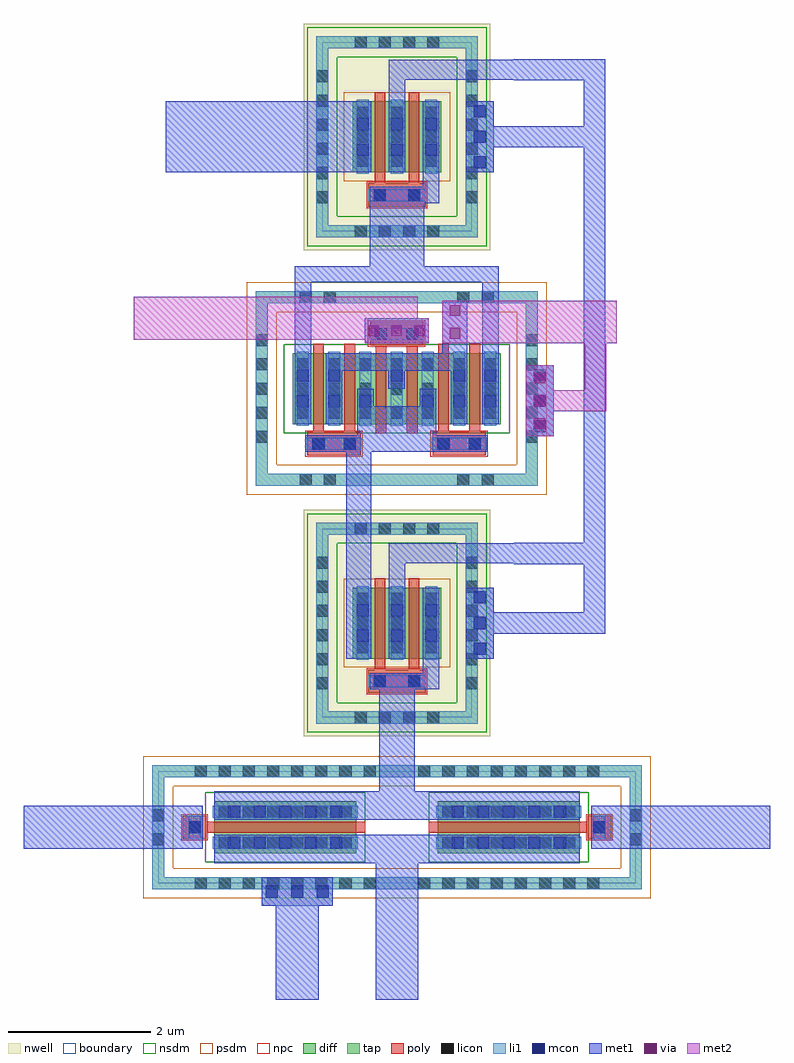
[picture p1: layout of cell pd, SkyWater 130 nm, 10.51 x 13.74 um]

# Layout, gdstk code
from math import pi, radians
import gdstk
lib = gdstk.Library(unit=1e-6, precision=1e-09)
def R(c, l, rs):  # rectangles x0, y0, x1, y1
    for r in rs: c.add(gdstk.rectangle(r[:2], r[2:], *l))
def A(c, l, x, y, w, h, nx, ny, dx, dy):  # array of equal rectangles
    R(c, l, [(x+i*dx, y+j*dy, x+i*dx+w, y+j*dy+h) for i in range(nx) for j in range(ny)])
def P(c, l, *ps):  # polygons
    for p in ps: c.add(gdstk.Polygon(p, *l))
nwell = (64, 20)
diff = (65, 20)
tap = (65, 44)
poly = (66, 20)
licon = (66, 44)
li1 = (67, 20)
mcon = (67, 44)
met1 = (68, 20)
via = (68, 44)
met2 = (69, 20)
nsdm = (93, 44)
psdm = (94, 20)
npc = (95, 20)
boundary = (235, 4)

via_new_3 = lib.new_cell('via_new$3')
A(via_new_3, mcon, 0.115, -0.445, 0.17, 0.17, 1, 3, 0, 0.36)
via_new_3.add(gdstk.FlexPath([(0,0),(0.4,0)], 1, ends="flush", simple_path=True, layer=67, datatype=20))  # li1
via_new_3.add(gdstk.FlexPath([(0,0),(0.4,0)], 1, ends="flush", simple_path=True, layer=68, datatype=20))  # met1

sky130_fd_pr__pfet_01v8 = lib.new_cell('sky130_fd_pr__pfet_01v8')
R(sky130_fd_pr__pfet_01v8, nwell, [(0,0,2.63,3.19), (0,6.845,2.63,10.035)])
R(sky130_fd_pr__pfet_01v8, diff, [(0.69,1.095,1.94,2.095), (0.69,7.94,1.94,8.94)])
R(sky130_fd_pr__pfet_01v8, tap, [(0.18,0.18,2.45,0.35), (0.18,0.35,0.35,2.84), (2.28,0.35,2.45,2.84), (0.18,2.84,2.45,3.01), (0.18,7.025,2.45,7.195), (0.18,7.195,0.35,9.685), (2.28,7.195,2.45,9.685), (0.18,9.685,2.45,9.855)])
R(sky130_fd_pr__pfet_01v8, poly, [(0.91,0.61,1.72,0.94), (1,0.94,1.15,2.225), (1.48,0.94,1.63,2.225), (0.91,7.455,1.72,7.785), (1,7.785,1.15,9.07), (1.48,7.785,1.63,9.07)])
A(sky130_fd_pr__pfet_01v8, licon, 0.72, 0.18, 0.17, 0.17, 4, 2, 0.34, 2.66)
A(sky130_fd_pr__pfet_01v8, licon, 0.18, 0.66, 0.17, 0.17, 1, 6, 0, 0.34)
A(sky130_fd_pr__pfet_01v8, licon, 2.28, 0.66, 0.17, 0.17, 1, 6, 0, 0.34)
A(sky130_fd_pr__pfet_01v8, licon, 0.75, 1.17, 0.17, 0.17, 3, 3, 0.48, 0.34)
A(sky130_fd_pr__pfet_01v8, licon, 0.72, 7.025, 0.17, 0.17, 4, 2, 0.34, 2.66)
A(sky130_fd_pr__pfet_01v8, licon, 0.18, 7.505, 0.17, 0.17, 1, 6, 0, 0.34)
A(sky130_fd_pr__pfet_01v8, licon, 2.28, 7.505, 0.17, 0.17, 1, 6, 0, 0.34)
A(sky130_fd_pr__pfet_01v8, licon, 0.75, 8.015, 0.17, 0.17, 3, 3, 0.48, 0.34)
R(sky130_fd_pr__pfet_01v8, licon, [(0.99,0.69,1.16,0.86), (1.47,0.69,1.64,0.86), (0.99,7.535,1.16,7.705), (1.47,7.535,1.64,7.705)])
A(sky130_fd_pr__pfet_01v8, li1, 0.75, 1.075, 0.17, 1.04, 3, 2, 0.48, 6.845)
R(sky130_fd_pr__pfet_01v8, li1, [(0.18,0.18,2.45,0.35), (0.18,0.35,0.35,2.84), (2.28,0.35,2.45,2.84), (0.91,0.69,1.72,0.86), (0.18,2.84,2.45,3.01), (0.18,7.025,2.45,7.195), (0.18,7.195,0.35,9.685), (2.28,7.195,2.45,9.685), (0.91,7.535,1.72,7.705), (0.18,9.685,2.45,9.855)])
A(sky130_fd_pr__pfet_01v8, mcon, 0.75, 1.33, 0.17, 0.17, 3, 2, 0.48, 0.36)
A(sky130_fd_pr__pfet_01v8, mcon, 0.75, 8.175, 0.17, 0.17, 3, 2, 0.48, 0.36)
R(sky130_fd_pr__pfet_01v8, mcon, [(0.99,0.69,1.16,0.86), (1.47,0.69,1.64,0.86), (0.99,7.535,1.16,7.705), (1.47,7.535,1.64,7.705)])
R(sky130_fd_pr__pfet_01v8, met1, [(0.72,1.095,0.95,2.095), (1.2,1.095,1.43,2.095), (1.2,2.095,1.43,2.555), (0.72,7.94,0.95,8.94), (1.2,7.94,1.43,8.94), (1.2,8.94,1.43,9.4)])
P(sky130_fd_pr__pfet_01v8, met1, [(0.93,7.505),(0.93,7.735),(1.68,7.735),(1.68,8.94),(1.91,8.94),(1.91,7.505)],
  [(0.93,0.66),(0.93,0.89),(1.68,0.89),(1.68,2.095),(1.91,2.095),(1.91,0.66)])
R(sky130_fd_pr__pfet_01v8, nsdm, [(0.055,0.055,2.575,0.475), (0.055,0.475,0.475,2.715), (2.155,0.475,2.575,2.715), (0.055,2.715,2.575,3.135), (0.055,6.9,2.575,7.32), (0.055,7.32,0.475,9.56), (2.155,7.32,2.575,9.56), (0.055,9.56,2.575,9.98)])
R(sky130_fd_pr__pfet_01v8, psdm, [(0.565,0.97,2.065,2.22), (0.565,7.815,2.065,9.065)])
R(sky130_fd_pr__pfet_01v8, npc, [(0.89,0.59,1.74,0.96), (0.89,7.435,1.74,7.805)])
R(sky130_fd_pr__pfet_01v8, boundary, [(0.265,0.265,2.365,2.925), (0.265,7.11,2.365,9.77)])

via_new_1_1 = lib.new_cell('via_new$1$1')
A(via_new_1_1, via, 0.1, -0.395, 0.15, 0.15, 1, 3, 0, 0.32)
via_new_1_1.add(gdstk.FlexPath([(0,0),(0.35,0)], 0.9, ends="flush", simple_path=True, layer=69, datatype=20))  # met2
via_new_1_1.add(gdstk.FlexPath([(0,0),(0.35,0)], 0.9, ends="flush", simple_path=True, layer=68, datatype=20))  # met1

via_new_2_1 = lib.new_cell('via_new$2$1')
R(via_new_2_1, via, [(0.1,-0.235,0.25,-0.085), (0.1,0.085,0.25,0.235)])
via_new_2_1.add(gdstk.FlexPath([(0,0),(0.35,0)], 0.6, ends="flush", simple_path=True, layer=69, datatype=20))  # met2
via_new_2_1.add(gdstk.FlexPath([(0,0),(0.35,0)], 0.6, ends="flush", simple_path=True, layer=68, datatype=20))  # met1

sky130_fd_pr__nfet_01v8_ = lib.new_cell('sky130_fd_pr__nfet_01v8$4')
A(sky130_fd_pr__nfet_01v8_, diff, 2.1, 6.675, 0.73, 1, 6, 1, 0.44, 0)
R(sky130_fd_pr__nfet_01v8_, diff, [(0.995,0.635,2.995,1.365), (4.145,0.635,6.145,1.365)])
R(sky130_fd_pr__nfet_01v8_, tap, [(0.125,0.125,0.295,1.875), (0.295,0.125,3.695,0.295), (3.445,0.125,6.845,0.295), (6.845,0.125,7.015,1.875), (0.295,1.705,3.695,1.875), (3.445,1.705,6.845,1.875), (1.58,5.805,3.33,5.975), (3.33,5.805,3.8,5.975), (3.8,5.805,5.55,5.975), (1.58,5.975,1.75,8.375), (5.38,5.975,5.55,8.375), (1.58,8.375,3.33,8.545), (3.33,8.375,3.8,8.545), (3.8,8.375,5.55,8.545)])
A(sky130_fd_pr__nfet_01v8_, poly, 2.39, 6.565, 0.15, 1.22, 6, 1, 0.44, 0)
R(sky130_fd_pr__nfet_01v8_, poly, [(0.555,0.835,0.885,1.165), (6.255,0.835,6.585,1.165), (0.885,0.925,3.105,1.075), (4.035,0.925,6.255,1.075), (2.63,6.235,2.74,6.565), (4.39,6.235,4.5,6.565), (3.51,7.785,3.62,8.115)])
A(sky130_fd_pr__nfet_01v8_, licon, 0.72, 0.125, 0.17, 0.17, 8, 2, 0.34, 1.58)
A(sky130_fd_pr__nfet_01v8_, licon, 3.87, 0.125, 0.17, 0.17, 8, 2, 0.34, 1.58)
A(sky130_fd_pr__nfet_01v8_, licon, 1.06, 0.695, 0.17, 0.17, 6, 2, 0.34, 0.44)
A(sky130_fd_pr__nfet_01v8_, licon, 4.21, 0.695, 0.17, 0.17, 6, 2, 0.34, 0.44)
A(sky130_fd_pr__nfet_01v8_, licon, 1.58, 6.41, 0.17, 0.17, 1, 5, 0, 0.34)
A(sky130_fd_pr__nfet_01v8_, licon, 5.38, 6.41, 0.17, 0.17, 1, 5, 0, 0.34)
A(sky130_fd_pr__nfet_01v8_, licon, 2.16, 6.75, 0.17, 0.17, 7, 3, 0.44, 0.34)
R(sky130_fd_pr__nfet_01v8_, licon, [(0.125,0.745,0.295,0.915), (6.845,0.745,7.015,0.915), (0.635,0.915,0.805,1.085), (6.335,0.915,6.505,1.085), (0.125,1.085,0.295,1.255), (6.845,1.085,7.015,1.255), (2.2,5.805,2.37,5.975), (2.54,5.805,2.71,5.975), (4.42,5.805,4.59,5.975), (4.76,5.805,4.93,5.975), (2.38,6.315,2.55,6.485), (2.82,6.315,2.99,6.485), (4.14,6.315,4.31,6.485), (4.58,6.315,4.75,6.485), (3.26,7.865,3.43,8.035), (3.7,7.865,3.87,8.035), (2.2,8.375,2.37,8.545), (2.54,8.375,2.71,8.545), (4.42,8.375,4.59,8.545), (4.76,8.375,4.93,8.545)])
A(sky130_fd_pr__nfet_01v8_, li1, 2.16, 6.655, 0.17, 1.04, 7, 1, 0.44, 0)
R(sky130_fd_pr__nfet_01v8_, li1, [(0.125,0.125,0.295,1.875), (0.295,0.125,3.695,0.295), (3.445,0.125,6.845,0.295), (6.845,0.125,7.015,1.875), (0.975,0.695,3.015,0.865), (4.125,0.695,6.165,0.865), (0.635,0.835,0.805,1.165), (6.335,0.835,6.505,1.165), (0.975,1.135,3.015,1.305), (4.125,1.135,6.165,1.305), (0.295,1.705,3.695,1.875), (3.445,1.705,6.845,1.875), (1.58,5.805,3.33,5.975), (3.33,5.805,3.8,5.975), (3.8,5.805,5.55,5.975), (1.58,5.975,1.75,8.375), (5.38,5.975,5.55,8.375), (2.3,6.315,2.63,6.485), (2.63,6.315,2.74,6.485), (2.74,6.315,3.07,6.485), (4.06,6.315,4.39,6.485), (4.39,6.315,4.5,6.485), (4.5,6.315,4.83,6.485), (3.18,7.865,3.51,8.035), (3.51,7.865,3.62,8.035), (3.62,7.865,3.95,8.035), (1.58,8.375,3.33,8.545), (3.33,8.375,3.8,8.545), (3.8,8.375,5.55,8.545)])
A(sky130_fd_pr__nfet_01v8_, mcon, 1.19, 0.695, 0.17, 0.17, 5, 2, 0.36, 0.44)
A(sky130_fd_pr__nfet_01v8_, mcon, 4.34, 0.695, 0.17, 0.17, 5, 2, 0.36, 0.44)
A(sky130_fd_pr__nfet_01v8_, mcon, 2.16, 6.91, 0.17, 0.17, 3, 1, 0.44, 0)
A(sky130_fd_pr__nfet_01v8_, mcon, 3.92, 6.91, 0.17, 0.17, 3, 1, 0.44, 0)
A(sky130_fd_pr__nfet_01v8_, mcon, 2.6, 7.27, 0.17, 0.17, 3, 1, 0.88, 0)
R(sky130_fd_pr__nfet_01v8_, mcon, [(0.635,0.915,0.805,1.085), (6.335,0.915,6.505,1.085), (2.38,6.315,2.55,6.485), (2.82,6.315,2.99,6.485), (4.14,6.315,4.31,6.485), (4.58,6.315,4.75,6.485), (2.16,7.27,2.33,7.44), (4.8,7.27,4.97,7.44), (3.26,7.865,3.43,8.035), (3.7,7.865,3.87,8.035)])
R(sky130_fd_pr__nfet_01v8_, met1, [(0.995,0.495,6.145,0.895), (0.995,0.665,2.995,0.895), (4.145,0.665,6.145,0.895), (0.605,0.815,0.835,0.855), (6.305,0.815,6.535,0.855), (0.605,0.855,0.835,1.145), (6.305,0.855,6.535,1.145), (0.995,1.105,2.995,1.335), (0.995,1.105,6.145,1.505), (4.145,1.105,6.145,1.335), (0.605,1.145,0.835,1.185), (6.305,1.145,6.535,1.185), (2.28,6.285,2.32,6.515), (2.32,6.285,2.61,6.515), (2.61,6.285,2.76,6.515), (2.76,6.285,3.05,6.515), (3.05,6.285,3.09,6.515), (3.09,6.285,4.04,6.515), (4.04,6.285,4.08,6.515), (4.08,6.285,4.37,6.515), (4.37,6.285,4.52,6.515), (4.52,6.285,4.81,6.515), (4.81,6.285,4.85,6.515), (3.01,6.515,4.12,6.675), (2.13,6.675,2.36,7.675), (2.57,6.675,2.8,7.675), (3.01,6.675,3.24,7.175), (3.24,6.675,3.89,6.925), (3.89,6.675,4.12,7.175), (4.33,6.675,4.56,7.675), (4.77,6.675,5,7.675), (3.45,7.175,3.68,7.675), (2.8,7.425,3.45,7.675), (3.68,7.425,4.33,7.675), (4.21,7.675,4.56,7.815), (3.16,7.835,3.2,8.065), (3.2,7.835,3.49,8.065), (3.49,7.835,3.64,8.065), (3.64,7.835,3.93,8.065), (3.93,7.835,3.97,8.065)])
A(sky130_fd_pr__nfet_01v8_, nsdm, 1.975, 6.55, 0.98, 1.25, 6, 1, 0.44, 0)
R(sky130_fd_pr__nfet_01v8_, nsdm, [(0.87,0.51,3.12,1.49), (4.02,0.51,6.27,1.49)])
R(sky130_fd_pr__nfet_01v8_, psdm, [(0,0,0.42,2), (0.42,0,3.57,0.42), (3.57,0,6.72,0.42), (6.72,0,7.14,2), (0.42,1.58,3.57,2), (3.57,1.58,6.72,2), (1.455,5.68,3.455,6.1), (3.455,5.68,3.675,6.1), (3.675,5.68,5.675,6.1), (1.455,6.1,1.875,8.25), (5.255,6.1,5.675,8.25), (1.455,8.25,3.455,8.67), (3.455,8.25,3.675,8.67), (3.675,8.25,5.675,8.67)])
R(sky130_fd_pr__nfet_01v8_, npc, [(0.535,0.815,0.905,1.185), (6.235,0.815,6.605,1.185), (2.28,6.215,2.65,6.585), (2.65,6.215,2.72,6.585), (2.72,6.215,3.09,6.585), (4.04,6.215,4.41,6.585), (4.41,6.215,4.48,6.585), (4.48,6.215,4.85,6.585), (3.16,7.765,3.53,8.135), (3.53,7.765,3.6,8.135), (3.6,7.765,3.97,8.135)])
R(sky130_fd_pr__nfet_01v8_, boundary, [(0.21,0.21,3.78,1.79), (3.36,0.21,6.93,1.79), (1.58,5.805,5.55,8.545)])
sky130_fd_pr__nfet_01v8_.add(gdstk.FlexPath([(2.245,8.03),(2.245,7.675)], 0.23, ends="extended", simple_path=True, layer=68, datatype=20))  # met1
sky130_fd_pr__nfet_01v8_.add(gdstk.FlexPath([(4.885,8.03),(4.885,7.675)], 0.23, ends="extended", simple_path=True, layer=68, datatype=20))  # met1
sky130_fd_pr__nfet_01v8_.add(gdstk.Reference(via_new_1_1, (3.565,7.815), rotation=pi/2))
sky130_fd_pr__nfet_01v8_.add(gdstk.Reference(via_new_2_1, (4.56,8.115), rotation=pi))

via_new_10 = lib.new_cell('via_new$10')
A(via_new_10, mcon, 0.115, -0.445, 0.17, 0.17, 1, 3, 0, 0.36)
A(via_new_10, via, 0.125, -0.395, 0.15, 0.15, 1, 3, 0, 0.32)
via_new_10.add(gdstk.FlexPath([(0,0),(0.4,0)], 1, ends="flush", simple_path=True, layer=69, datatype=20))  # met2
via_new_10.add(gdstk.FlexPath([(0,0),(0.4,0)], 1, ends="flush", simple_path=True, layer=67, datatype=20))  # li1
via_new_10.add(gdstk.FlexPath([(0,0),(0.4,0)], 1, ends="flush", simple_path=True, layer=68, datatype=20))  # met1

c_pd = lib.new_cell('pd')
R(c_pd, poly, [(-0.86,1.55,-0.84,1.7), (0.05,1.55,0.07,1.7), (-1.655,6.86,-0.905,7.19), (0.105,6.86,0.855,7.19), (-0.695,7.17,-0.545,7.19), (-0.255,7.17,-0.105,7.19), (-1.575,8.41,-1.425,8.43), (-1.135,8.41,-0.985,8.43), (-0.775,8.41,-0.025,8.74), (0.185,8.41,0.335,8.43), (0.625,8.41,0.775,8.43)])
R(c_pd, met1, [(-1.11,4,-0.76,7.14), (-0.51,5.34,1.4,5.62), (-0.78,9.295,-0.01,10.64), (-3.65,10.845,-0.76,11.845), (-0.51,12.15,1.4,12.43)])
c_pd.add(gdstk.FlexPath([(-0.4,8.79),(-3.8,8.79)], 0.6, ends="extended", simple_path=True, layer=69, datatype=20))  # met2
c_pd.add(gdstk.FlexPath([(0.595,8.74),(2.4,8.74)], 0.6, ends="extended", simple_path=True, layer=69, datatype=20))  # met2
c_pd.add(gdstk.FlexPath([(1.815,7.63),(2.4,7.63),(2.4,8.74)], 0.3, ends="extended", simple_path=True, layer=69, datatype=20))  # met2
c_pd.add(gdstk.FlexPath([(-0.395,1.12),(-0.395,-0.5)], 0.6, ends="extended", simple_path=True, layer=68, datatype=20))  # met1
c_pd.add(gdstk.FlexPath([(-1.8,0.52),(-1.8,-0.5)], 0.6, ends="extended", simple_path=True, layer=68, datatype=20))  # met1
c_pd.add(gdstk.FlexPath([(-3.43,1.625),(-5.35,1.625)], 0.6, ends="extended", simple_path=True, layer=68, datatype=20))  # met1
c_pd.add(gdstk.FlexPath([(4.56,1.625),(2.64,1.625)], 0.6, ends="extended", simple_path=True, layer=68, datatype=20))  # met1
c_pd.add(gdstk.FlexPath([(1.4,5.48),(2.385,5.48),(2.385,12.29),(1.4,12.29)], 0.3, ends="extended", simple_path=True, layer=68, datatype=20))  # met1
c_pd.add(gdstk.FlexPath([(0.97,4.5),(2.385,4.5),(2.385,5.48)], 0.3, ends="extended", simple_path=True, layer=68, datatype=20))  # met1
c_pd.add(gdstk.FlexPath([(0.97,11.345),(2.385,11.345)], 0.3, ends="extended", simple_path=True, layer=68, datatype=20))  # met1
c_pd.add(gdstk.FlexPath([(-1.72,8.655),(-1.72,9.41),(0.92,9.41),(0.92,8.655)], 0.23, ends="extended", simple_path=True, layer=68, datatype=20))  # met1
c_pd.add(gdstk.FlexPath([(-0.395,2.205),(-0.395,3.545)], 0.5, ends="extended", simple_path=True, layer=68, datatype=20))  # met1
c_pd.add(gdstk.Reference(via_new_3, (-1.8,0.52), rotation=pi/2))
c_pd.add(gdstk.Reference(via_new_3, (0.97,4.5), rotation=pi))
c_pd.add(gdstk.Reference(sky130_fd_pr__pfet_01v8, (-1.71,2.905)))
c_pd.add(gdstk.Reference(sky130_fd_pr__nfet_01v8_, (-3.965,0.625)))
c_pd.add(gdstk.Reference(via_new_3, (0.97,11.345), rotation=pi))
c_pd.add(gdstk.Reference(via_new_10, (1.815,7.63), rotation=pi))

lib.write_gds('pd.gds')
